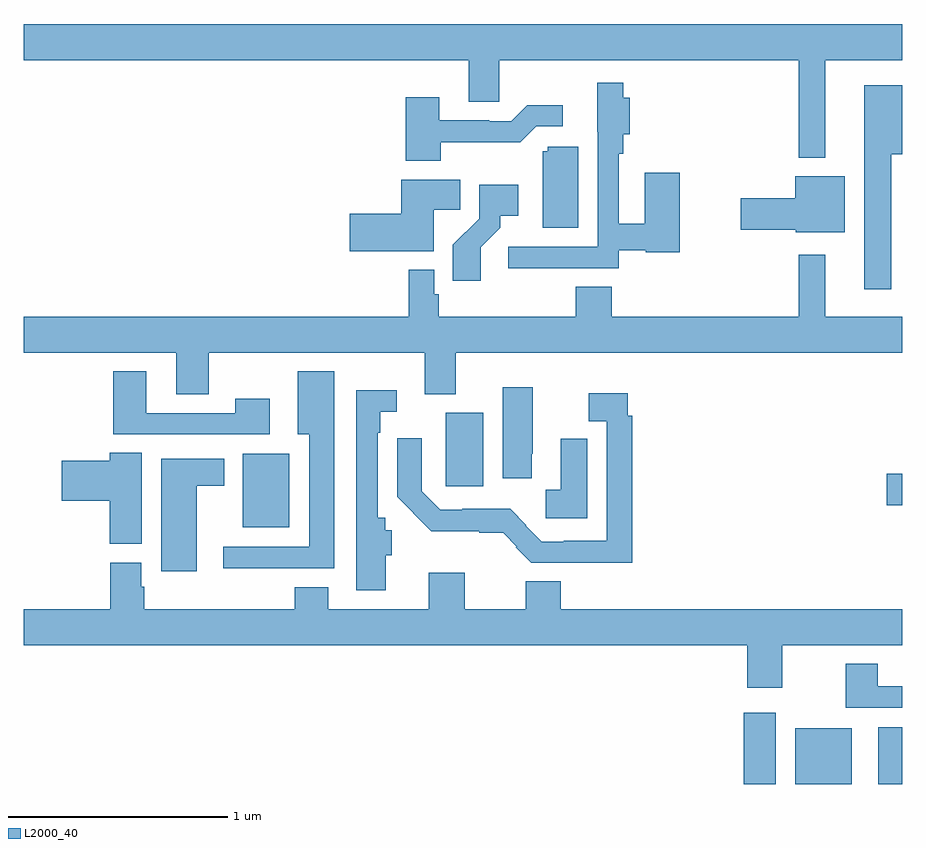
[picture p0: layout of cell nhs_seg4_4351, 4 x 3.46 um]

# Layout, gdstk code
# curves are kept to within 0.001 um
import gdstk
lib = gdstk.Library(unit=1e-6, precision=1e-09)
def R(c, l, rs):  # rectangles x0, y0, x1, y1
    for r in rs: c.add(gdstk.rectangle(r[:2], r[2:], *l))
def P(c, l, *ps):  # polygons
    for p in ps: c.add(gdstk.Polygon(p, *l))
L2000_40 = (2000, 40)

nhs_seg4_4351 = lib.new_cell('nhs_seg4_4351')
R(nhs_seg4_4351, L2000_40, [(348.278,750.9,348.424,751.225), (348.512,750.9,348.769,751.153), (348.89,750.9,349,751.159), (345.998,752.069,346.21,752.404), (348.93,752.17,349,752.312), (346.922,752.256,347.092,752.59)])
P(nhs_seg4_4351, L2000_40, [(348.649,754.196),(349,754.196),(349,754.36),(345,754.36),(345,754.196),(347.027,754.196),(347.027,754.006),(347.166,754.006),(347.166,754.196),(348.528,754.196),(348.528,753.752),(348.649,753.752)],
  [(347.429,753.249),(347.709,753.249),(347.709,753.33),(347.832,753.33),(347.832,753.322),(347.986,753.322),(347.986,753.682),(347.828,753.682),(347.828,753.451),(347.709,753.451),(347.709,753.77),(347.729,753.77),(347.729,753.859),(347.759,753.859),(347.759,754.024),(347.729,754.024),(347.729,754.093),(347.612,754.093),(347.612,753.87),(347.613,753.87),(347.613,753.345),(347.205,753.345),(347.205,753.247),(347.429,753.247)],
  [(348.949,753.766),(349,753.766),(349,754.081),(348.827,754.081),(348.827,753.153),(348.949,753.153)],
  [(346.899,753.822),(347.261,753.821),(347.334,753.894),(347.455,753.894),(347.455,753.991),(347.293,753.991),(347.22,753.918),(347.12,753.918),(347.12,753.921),(346.891,753.921),(346.891,754.027),(346.739,754.027),(346.739,753.737),(346.899,753.737)],
  [(347.524,753.801),(347.385,753.801),(347.385,753.78),(347.363,753.78),(347.363,753.432),(347.524,753.432)],
  [(348.739,753.667),(348.512,753.667),(348.512,753.566),(348.264,753.566),(348.264,753.424),(348.516,753.424),(348.516,753.413),(348.739,753.413)],
  [(346.867,753.514),(346.988,753.514),(346.988,753.652),(346.718,753.652),(346.718,753.497),(346.485,753.497),(346.485,753.326),(346.867,753.326)],
  [(347.08,753.343),(347.17,753.433),(347.17,753.488),(347.251,753.488),(347.251,753.628),(347.073,753.628),(347.073,753.473),(346.954,753.354),(346.954,753.192),(347.08,753.192)],
  [(345.843,752.864),(346.826,752.864),(346.826,752.675),(346.966,752.675),(346.966,752.864),(349,752.864),(349,753.028),(348.649,753.028),(348.649,753.31),(348.528,753.31),(348.528,753.028),(347.678,753.028),(347.678,753.164),(347.513,753.164),(347.513,753.028),(346.889,753.028),(346.889,753.129),(346.869,753.129),(346.869,753.241),(346.753,753.241),(346.753,753.028),(345,753.028),(345,752.864),(345.695,752.864),(345.695,752.674),(345.843,752.674)],
  [(346.414,752.779),(346.247,752.779),(346.247,752.492),(346.301,752.492),(346.301,751.98),(345.909,751.98),(345.909,751.883),(346.414,751.883)],
  [(346.12,752.653),(345.964,752.653),(345.964,752.589),(345.559,752.589),(345.559,752.779),(345.407,752.779),(345.407,752.493),(346.12,752.493)],
  [(347.314,752.404),(347.317,752.404),(347.317,752.707),(347.18,752.707),(347.18,752.292),(347.314,752.292)],
  [(346.648,751.941),(346.675,751.941),(346.675,752.055),(346.647,752.055),(346.647,752.112),(346.611,752.112),(346.611,752.498),(346.623,752.498),(346.623,752.595),(346.699,752.595),(346.699,752.692),(346.515,752.692),(346.515,752.009),(346.514,752.009),(346.514,751.781),(346.648,751.781)],
  [(347.771,752.576),(347.751,752.576),(347.751,752.68),(347.572,752.68),(347.572,752.552),(347.655,752.552),(347.655,752.008),(347.458,752.008),(347.458,752.004),(347.358,752.004),(347.286,752.076),(347.289,752.079),(347.215,752.153),(346.996,752.153),(346.996,752.148),(346.896,752.148),(346.812,752.232),(346.812,752.473),(346.7,752.473),(346.7,752.208),(346.855,752.051),(347.075,752.051),(347.075,752.043),(347.183,752.043),(347.245,751.981),(347.241,751.977),(347.311,751.907),(347.771,751.907)],
  [(347.566,752.471),(347.444,752.471),(347.444,752.239),(347.376,752.239),(347.376,752.11),(347.566,752.11)],
  [(345.538,752.408),(345.392,752.408),(345.392,752.372),(345.174,752.372),(345.174,752.189),(345.392,752.189),(345.392,751.993),(345.538,751.993)],
  [(345.787,752.258),(345.913,752.258),(345.913,752.38),(345.626,752.38),(345.626,751.868),(345.787,751.868)],
  [(348.453,751.532),(349,751.532),(349,751.696),(347.446,751.696),(347.446,751.822),(347.285,751.822),(347.285,751.696),(347.008,751.696),(347.008,751.861),(346.844,751.861),(346.844,751.696),(346.387,751.696),(346.387,751.795),(346.235,751.795),(346.235,751.696),(345.548,751.696),(345.548,751.797),(345.535,751.797),(345.535,751.908),(345.395,751.908),(345.395,751.696),(345,751.696),(345,751.532),(348.293,751.532),(348.293,751.338),(348.453,751.338)],
  [(349,751.344),(348.889,751.344),(348.889,751.447),(348.742,751.447),(348.742,751.248),(349,751.248)])

lib.write_gds('nhs_seg4_4351.gds')
